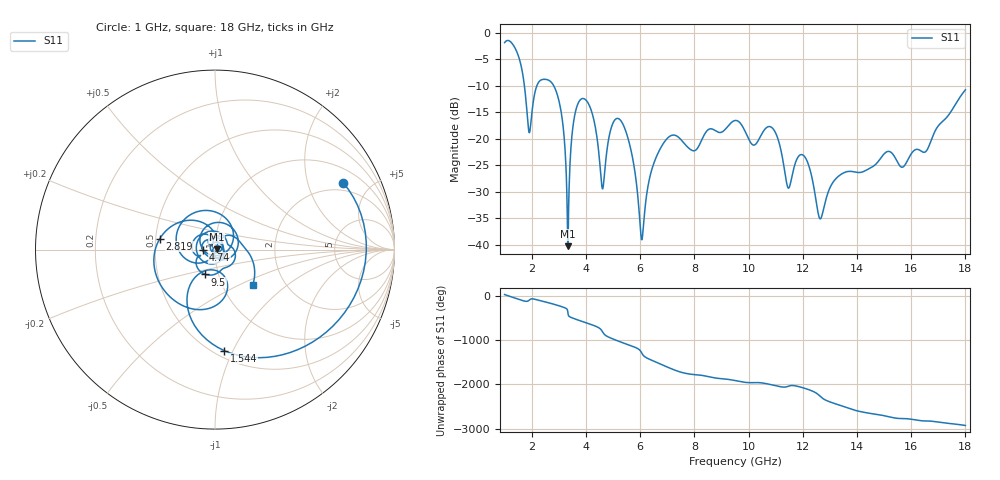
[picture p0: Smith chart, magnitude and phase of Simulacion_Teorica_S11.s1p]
! TOUCHSTONE file generated by CST MICROWAVE STUDIO
! Date and time: Fri Oct  4 19:29:34 2019
! Project name: ANTENNA.cst
! Parameters = {ANG_ALETA=15; CONST_CAJA=2; CONST_CONC=2; D_SONDA=20; E_ALETA=5; E_CAJA=2.5; GAP_ALETAS=1.5; L_ALETA=90; L_CAJA=25; L_CI=18; L_DIE=15; R_C_SONDA=0.63; R_SONDA=2.05; R_TORNILLO=2.6; TOLERANCIA=0.1; W_ALETA=70}
! Header version: 2015
! Port assignment regex: !\s*Touchstone port\s*([0-9]+)\s*=\s*CST MWS port\s*([0-9]+)\s*\(\"(.*)\"\)(\s*mode\s*([0-9]+))?.*
! Touchstone port assignment:
! Touchstone port 1 = CST MWS port 1 ("")
# GHz S DB R 50
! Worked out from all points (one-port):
!   1001 points, 1 GHz to 18 GHz, reference 50 ohm
!   lowest |S11| = -40.2 dB at 3.329 GHz (marker M1), VSWR 1.02, Z = 51 + j0.15 ohm
!   |S11| at or under -10 dB: 1.73 GHz to 2.19 GHz (460.5 MHz wide, 23.5 % of centre); 2.81 GHz to end of sweep
!   S11 on the Smith chart (normalised r, x): 1 GHz: 1.59, +3.37; 1.544 GHz: 0.56, -0.92; 2.819 GHz: 0.53, +0.07; 4.74 GHz: 0.88, -0.00; 9.5 GHz: 0.87, -0.24; 18 GHz: 1.38, -0.60
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1  -1.88 27.6
1.221  -1.73 -18.9
1.544  -4.96 -84.8
1.918  -18.87 -92.8
2.326  -8.98 -113.1
2.819  -10.08 168.7
3.125  -16.29 110.8
3.329  -40.25 8.7
3.55  -16.65 -151.8
3.805  -12.60 152.5
4.247  -15.50 60.3
4.604  -29.41 -83.7
4.74  -23.71 -179.4
5.25  -16.38 45.3
5.692  -22.86 -52.4
6.066  -39.04 142.2
6.542  -24.12 -43.9
7.375  -19.56 102.4
9.5  -16.57 -111.4
10.18  -21.20 -157.7
10.877  -17.97 149.3
11.438  -29.04 113.4
11.625  -26.54 136.8
12.084  -23.48 71.3
12.645  -35.11 -108.0
13.75  -26.14 -29.3
15.875  -23.99 106.9
18  -10.79 -43.6
